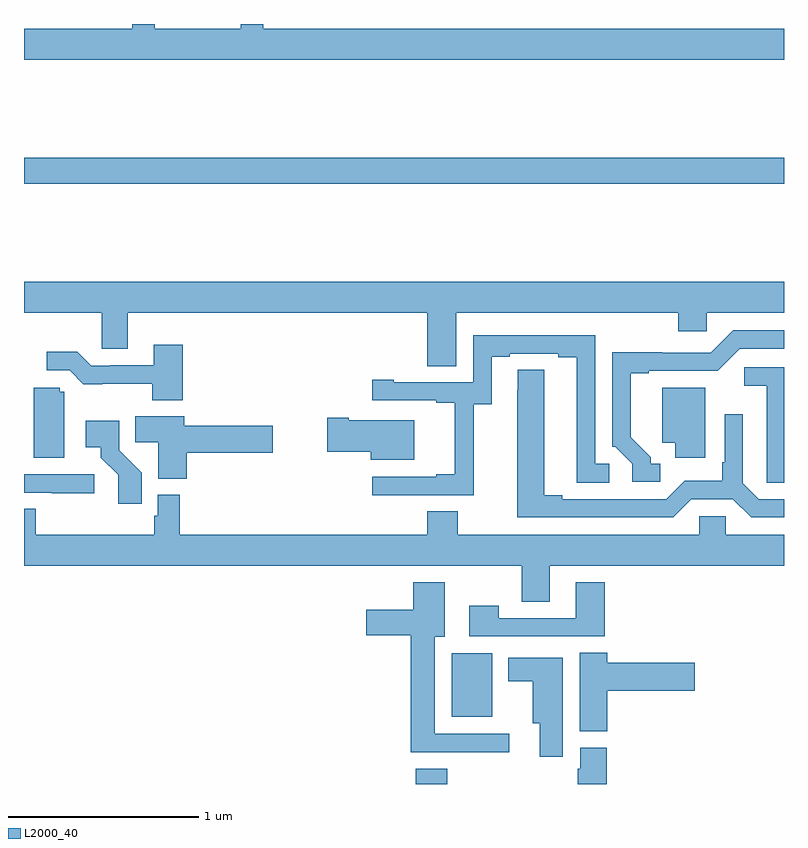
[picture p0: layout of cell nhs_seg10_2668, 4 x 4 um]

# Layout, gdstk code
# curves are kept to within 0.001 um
import gdstk
lib = gdstk.Library(unit=1e-6, precision=1e-09)
def R(c, l, rs):  # rectangles x0, y0, x1, y1
    for r in rs: c.add(gdstk.rectangle(r[:2], r[2:], *l))
def P(c, l, *ps):  # polygons
    for p in ps: c.add(gdstk.Polygon(p, *l))
L2000_40 = (2000, 40)

nhs_seg10_2668 = lib.new_cell('nhs_seg10_2668')
R(nhs_seg10_2668, L2000_40, [(257.063,1300.5,257.228,1300.579), (257.252,1300.853,257.464,1301.188), (255,1303.66,259,1303.796)])
P(nhs_seg10_2668, L2000_40, [(259,1304.476),(256.259,1304.476),(256.259,1304.5),(256.142,1304.5),(256.142,1304.476),(255.689,1304.476),(255.689,1304.5),(255.571,1304.5),(255.571,1304.476),(255,1304.476),(255,1304.312),(259,1304.312)],
  [(257.275,1302.98),(258.443,1302.98),(258.443,1302.882),(258.594,1302.882),(258.594,1302.98),(259,1302.98),(259,1303.144),(255,1303.144),(255,1302.98),(255.408,1302.98),(255.408,1302.79),(255.547,1302.79),(255.547,1302.98),(257.123,1302.98),(257.123,1302.7),(257.275,1302.7)],
  [(258.349,1302.186),(258.298,1302.186),(258.298,1302.221),(258.193,1302.326),(258.193,1302.663),(258.289,1302.663),(258.289,1302.675),(258.651,1302.675),(258.768,1302.792),(259,1302.792),(259,1302.888),(258.732,1302.888),(258.615,1302.771),(258.359,1302.771),(258.359,1302.773),(258.096,1302.773),(258.096,1302.276),(258.111,1302.276),(258.201,1302.186),(258.201,1302.09),(258.349,1302.09)],
  [(257.367,1302.499),(257.461,1302.499),(257.461,1302.75),(257.557,1302.75),(257.557,1302.765),(257.813,1302.765),(257.813,1302.745),(257.909,1302.745),(257.909,1302.085),(258.079,1302.085),(258.079,1302.186),(258.006,1302.186),(258.006,1302.861),(257.364,1302.861),(257.364,1302.615),(256.945,1302.615),(256.945,1302.628),(256.833,1302.628),(256.833,1302.519),(257.171,1302.519),(257.171,1302.507),(257.267,1302.507),(257.267,1302.13),(257.171,1302.13),(257.171,1302.117),(256.833,1302.117),(256.833,1302.021),(257.367,1302.021)],
  [(255.836,1302.811),(255.683,1302.811),(255.683,1302.705),(255.454,1302.705),(255.454,1302.702),(255.354,1302.702),(255.281,1302.775),(255.12,1302.775),(255.12,1302.678),(255.24,1302.678),(255.313,1302.605),(255.676,1302.606),(255.676,1302.521),(255.836,1302.521)],
  [(259,1302.693),(258.791,1302.693),(258.791,1302.596),(258.908,1302.596),(258.908,1302.193),(258.909,1302.193),(258.909,1302.085),(259,1302.085)],
  [(258.513,1302),(258.731,1302),(258.827,1301.904),(259,1301.904),(259,1302),(258.867,1302),(258.783,1302.084),(258.783,1302.445),(258.687,1302.445),(258.687,1302.193),(258.675,1302.193),(258.675,1302.096),(258.477,1302.096),(258.381,1302),(257.833,1302),(257.833,1302.02),(257.737,1302.02),(257.737,1302.68),(257.598,1302.68),(257.597,1301.904),(258.417,1301.904)],
  [(258.586,1302.586),(258.359,1302.586),(258.359,1302.296),(258.428,1302.296),(258.428,1302.216),(258.586,1302.216)],
  [(255.211,1302.564),(255.189,1302.564),(255.189,1302.585),(255.05,1302.585),(255.05,1302.216),(255.211,1302.216)],
  [(255.857,1302.244),(256.309,1302.244),(256.309,1302.386),(255.844,1302.386),(255.844,1302.436),(255.586,1302.436),(255.586,1302.298),(255.707,1302.298),(255.707,1302.107),(255.857,1302.107)],
  [(257.053,1302.415),(256.708,1302.415),(256.708,1302.428),(256.596,1302.428),(256.596,1302.25),(256.826,1302.25),(256.826,1302.206),(257.053,1302.206)],
  [(255.62,1302.138),(255.501,1302.257),(255.501,1302.412),(255.324,1302.412),(255.324,1302.272),(255.404,1302.272),(255.404,1302.217),(255.495,1302.127),(255.495,1301.976),(255.62,1301.976)],
  [(255.37,1302.129),(255,1302.129),(255,1302.033),(255.145,1302.033),(255.145,1302.031),(255.37,1302.031)],
  [(255.705,1302.022),(255.705,1301.913),(255.685,1301.913),(255.685,1301.812),(255.062,1301.812),(255.062,1301.948),(255,1301.948),(255,1301.648),(257.62,1301.648),(257.62,1301.458),(257.767,1301.458),(257.767,1301.648),(259,1301.648),(259,1301.812),(258.693,1301.812),(258.693,1301.91),(258.555,1301.91),(258.555,1301.812),(257.283,1301.812),(257.283,1301.936),(257.123,1301.936),(257.123,1301.812),(255.821,1301.812),(255.821,1302.022)],
  [(257.554,1300.764),(257.161,1300.764),(257.161,1301.276),(257.215,1301.276),(257.215,1301.563),(257.048,1301.563),(257.048,1301.416),(256.8,1301.416),(256.8,1301.282),(257.036,1301.282),(257.036,1300.667),(257.554,1300.667)],
  [(258.056,1301.563),(257.903,1301.563),(257.903,1301.373),(257.499,1301.373),(257.499,1301.437),(257.343,1301.437),(257.343,1301.277),(258.056,1301.277)],
  [(258.071,1300.991),(258.529,1300.991),(258.529,1301.138),(258.071,1301.138),(258.071,1301.192),(257.924,1301.192),(257.924,1300.777),(258.071,1300.777)],
  [(257.836,1301.164),(257.549,1301.164),(257.549,1301.042),(257.678,1301.042),(257.678,1300.82),(257.714,1300.82),(257.714,1300.644),(257.836,1300.644)],
  [(258.068,1300.692),(257.927,1300.692),(257.927,1300.581),(257.915,1300.581),(257.915,1300.5),(258.068,1300.5)])

lib.write_gds('nhs_seg10_2668.gds')
